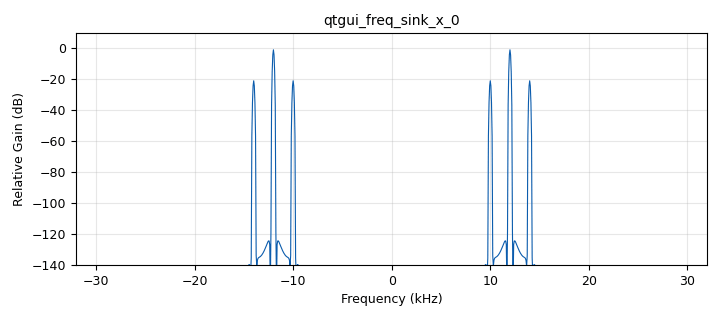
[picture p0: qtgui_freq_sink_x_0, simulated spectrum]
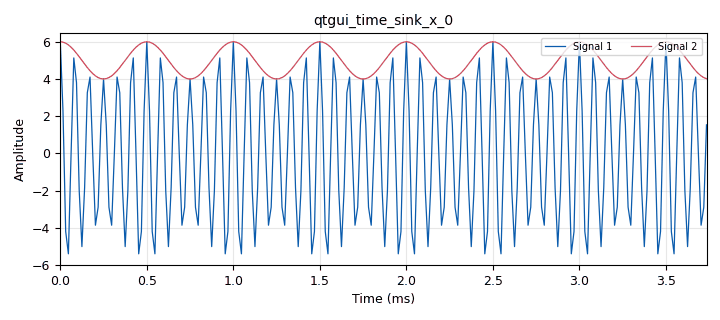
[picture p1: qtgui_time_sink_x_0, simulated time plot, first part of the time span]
options:
  parameters:
    generate_options: qt_gui
    id: am
    output_language: python
    title: Not titled yet
  states: {}

blocks:
- name: samp_rate
  id: variable
  parameters:
    value: '64000'
  states: {}
- name: analog_sig_source_x_0
  id: analog_sig_source_x
  parameters:
    amp: '1'
    freq: '2000'
    offset: '0'
    phase: '0'
    samp_rate: samp_rate
    type: float
    waveform: analog.GR_COS_WAVE
  states: {}
- name: analog_sig_source_x_0_0
  id: analog_sig_source_x
  parameters:
    amp: '1'
    freq: '12000'
    offset: '0'
    phase: '0'
    samp_rate: samp_rate
    type: float
    waveform: analog.GR_COS_WAVE
  states: {}
- name: blocks_add_const_vxx_0
  id: blocks_add_const_vxx
  parameters:
    const: '5'
    type: float
  states: {}
- name: blocks_multiply_xx_0
  id: blocks_multiply_xx
  parameters:
    type: float
  states: {}
- name: qtgui_freq_sink_x_0
  id: qtgui_freq_sink_x
  parameters:
    average: '0.2'
    bw: samp_rate
    fc: '0'
    fftsize: '1024'
    type: float
    wintype: firdes.WIN_BLACKMAN_hARRIS
  states: {}
- name: qtgui_time_sink_x_0
  id: qtgui_time_sink_x
  parameters:
    nconnections: '2'
    size: '1024'
    srate: samp_rate
    type: float
    ymax: '6'
    ymin: '-6'
  states: {}

connections:
- [analog_sig_source_x_0, '0', blocks_add_const_vxx_0, '0']
- [analog_sig_source_x_0_0, '0', blocks_multiply_xx_0, '1']
- [blocks_add_const_vxx_0, '0', blocks_multiply_xx_0, '0']
- [blocks_add_const_vxx_0, '0', qtgui_time_sink_x_0, '1']
- [blocks_multiply_xx_0, '0', qtgui_freq_sink_x_0, '0']
- [blocks_multiply_xx_0, '0', qtgui_time_sink_x_0, '0']

metadata:
  file_format: 1
